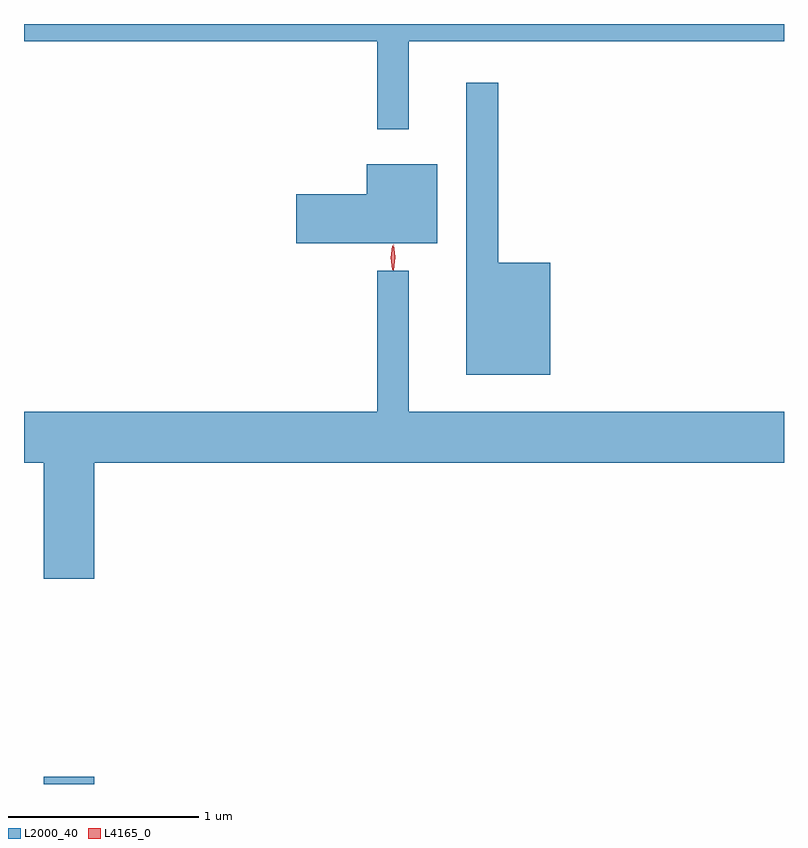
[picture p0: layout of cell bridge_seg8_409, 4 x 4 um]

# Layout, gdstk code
import gdstk
lib = gdstk.Library(unit=1e-6, precision=1e-09)
def R(c, l, rs):  # rectangles x0, y0, x1, y1
    for r in rs: c.add(gdstk.rectangle(r[:2], r[2:], *l))
def P(c, l, *ps):  # polygons
    for p in ps: c.add(gdstk.Polygon(p, *l))
L2000_40 = (2000, 40)
L4165_0 = (4165, 0)

bridge_seg8_409 = lib.new_cell('bridge_seg8_409')
R(bridge_seg8_409, L2000_40, [(774.516,1823.626,774.784,1823.664)])
P(bridge_seg8_409, L2000_40, [(776.439,1827.536),(778.413,1827.536),(778.413,1827.626),(774.413,1827.626),(774.413,1827.536),(776.271,1827.536),(776.271,1827.073),(776.439,1827.073)],
  [(777.184,1826.369),(776.909,1826.369),(776.909,1827.318),(776.741,1827.318),(776.741,1825.781),(777.184,1825.781)],
  [(776.589,1826.889),(776.216,1826.889),(776.216,1826.729),(775.846,1826.729),(775.846,1826.471),(776.589,1826.471)],
  [(774.784,1825.316),(778.413,1825.316),(778.413,1825.584),(776.439,1825.584),(776.439,1826.328),(776.271,1826.328),(776.271,1825.584),(774.413,1825.584),(774.413,1825.316),(774.516,1825.316),(774.516,1824.706),(774.784,1824.706)])
P(bridge_seg8_409, L4165_0, [(776.356,1826.33),(776.348,1826.398),(776.358,1826.465),(776.359,1826.466),(776.359,1826.465),(776.368,1826.398),(776.358,1826.33),(776.357,1826.33)],
  [(776.352,1826.333),(776.352,1826.333),(776.342,1826.396),(776.352,1826.459),(776.352,1826.46),(776.353,1826.459),(776.362,1826.396),(776.353,1826.333)])

lib.write_gds('bridge_seg8_409.gds')
